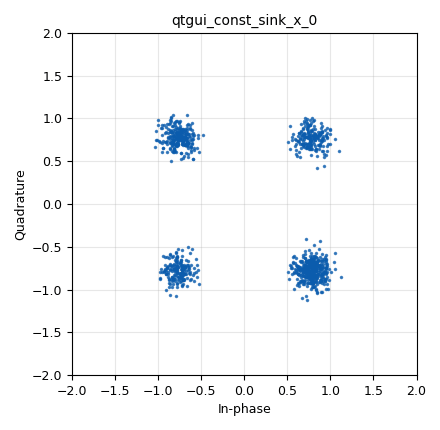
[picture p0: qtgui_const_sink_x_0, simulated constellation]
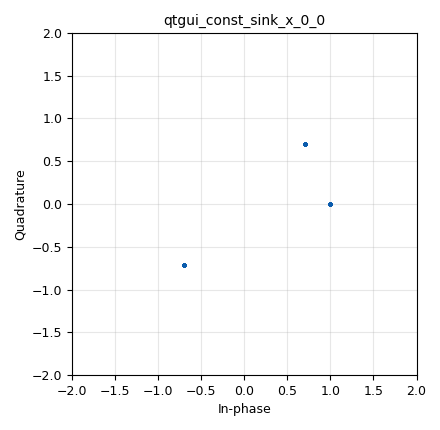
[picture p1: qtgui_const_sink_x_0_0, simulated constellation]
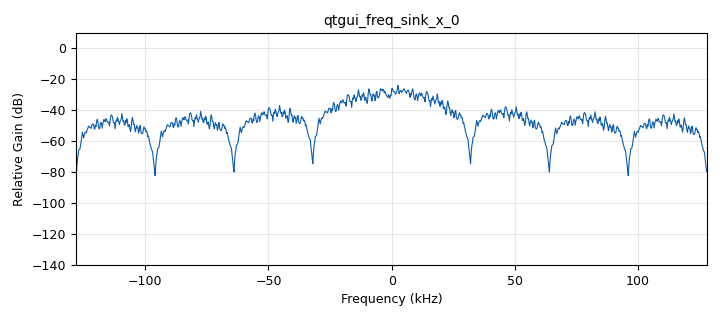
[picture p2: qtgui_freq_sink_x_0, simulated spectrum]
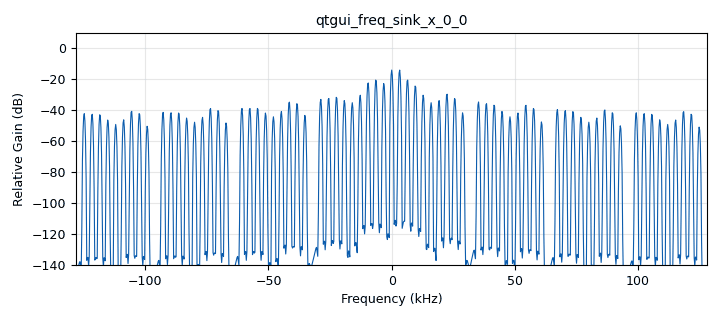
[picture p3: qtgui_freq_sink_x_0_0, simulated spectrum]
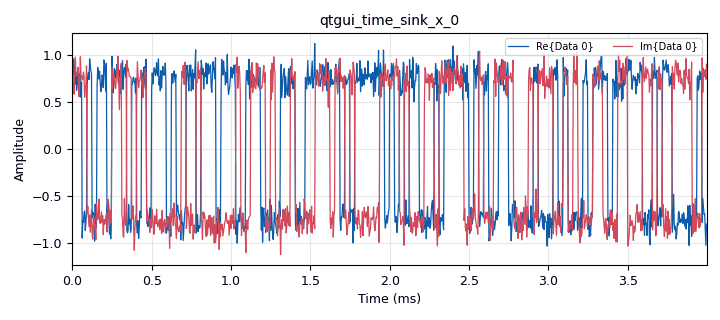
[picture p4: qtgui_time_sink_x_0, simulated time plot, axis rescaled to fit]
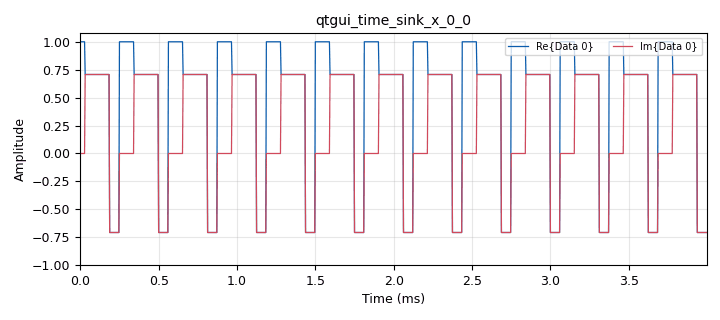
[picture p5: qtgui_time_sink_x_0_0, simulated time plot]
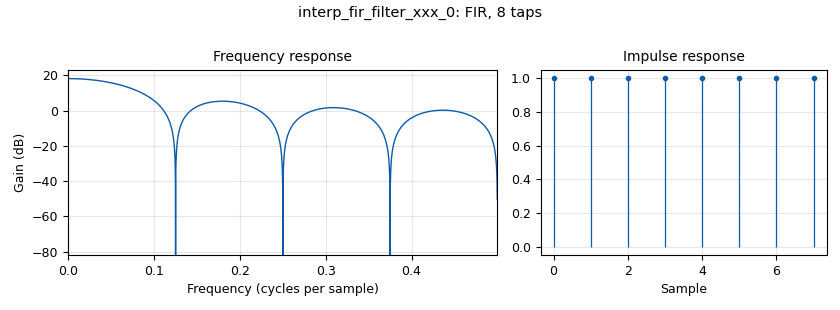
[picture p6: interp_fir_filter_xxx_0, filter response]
options:
  parameters:
    generate_options: qt_gui
    id: QPSTX
    output_language: python
    title: Not titled yet
  states: {}

blocks:
- name: Bit_rate
  id: variable
  parameters:
    value: Rs*bpsim
  states: {}
- name: Bit_rate_0
  id: variable
  parameters:
    value: Rs*bpsim_1
  states: {}
- name: M
  id: variable
  parameters:
    value: len(tabla_de_verdad)
  states: {}
- name: M_0
  id: variable
  parameters:
    value: len(tabla_de_verdad_2)
  states: {}
- name: Rs
  id: variable
  parameters:
    value: '32000'
  states: {}
- name: Rs_0
  id: variable
  parameters:
    value: '32000'
  states: {}
- name: bpsim
  id: variable
  parameters:
    value: math.log(M,2)
  states: {}
- name: bpsim_1
  id: variable
  parameters:
    value: math.log(M_0,2)
  states: {}
- name: h
  id: variable
  parameters:
    value: '[1]*sps'
  states: {}
- name: samp_rate
  id: variable
  parameters:
    value: sps*Rs
  states: {}
- name: samp_rate_0
  id: variable
  parameters:
    value: sps*Rs
  states: {}
- name: sps
  id: variable
  parameters:
    value: '8'
  states: {}
- name: tabla_de_verdad
  id: variable
  parameters:
    value: (0.77+0.77j,-0.77+0.77j,-0.77-0.77j,0.77-0.77j)
  states: {}
- name: tabla_de_verdad_2
  id: variable
  parameters:
    value: (1,np.sqrt(2)/2+np.sqrt(2)/2*1j,0+1j,-np.sqrt(2)/2+np.sqrt(2)/2*1j,-1,-np.sqrt(2)/2-np.sqrt(2)/2*1j,0-1j,np.sqrt(2)/2-np.sqrt(2)/2*1j)
  states: {}
- name: Menu
  id: qtgui_tab_widget
  parameters:
    label0: QPSK
    label1: 8PSK
    num_tabs: '2'
  states: {}
- name: an_noise
  id: analog_noise_source_x
  parameters:
    amp: '0.15'
    noise_type: analog.GR_GAUSSIAN
    seed: '0'
    type: complex
  states: {}
- name: an_noise_0
  id: analog_noise_source_x
  parameters:
    amp: '0.15'
    noise_type: analog.GR_GAUSSIAN
    seed: '0'
    type: complex
  states: {state: disabled}
- name: analog_random_source_x_0
  id: analog_random_source_x
  parameters:
    max: '2'
    min: '0'
    num_samps: '1000'
    repeat: 'True'
    type: byte
  states: {}
- name: analog_random_source_x_0_0
  id: analog_random_source_x
  parameters:
    max: '2'
    min: '0'
    num_samps: '1000'
    repeat: 'True'
    type: byte
  states: {state: disabled}
- name: blocks_add_xx_0
  id: blocks_add_xx
  parameters:
    type: complex
  states: {}
- name: blocks_add_xx_0_0
  id: blocks_add_xx
  parameters:
    type: complex
  states: {state: disabled}
- name: blocks_pack_k_bits_bb_0
  id: blocks_pack_k_bits_bb
  parameters:
    k: '8'
  states: {}
- name: blocks_pack_k_bits_bb_0_0
  id: blocks_pack_k_bits_bb
  parameters:
    k: '8'
  states: {state: disabled}
- name: blocks_packed_to_unpacked_xx_0
  id: blocks_packed_to_unpacked_xx
  parameters:
    bits_per_chunk: '2'
    endianness: gr.GR_MSB_FIRST
    type: byte
  states: {}
- name: blocks_packed_to_unpacked_xx_0_0
  id: blocks_packed_to_unpacked_xx
  parameters:
    bits_per_chunk: '3'
    endianness: gr.GR_MSB_FIRST
    type: byte
  states: {state: disabled}
- name: blocks_vector_source_x_0
  id: blocks_vector_source_x
  parameters:
    repeat: 'True'
    tags: ''
    type: int
    vector: (0,0,0,1,1,1,1,1,5,5)
  states: {}
- name: digital_chunks_to_symbols_xx_0
  id: digital_chunks_to_symbols_xx
  parameters:
    dimension: '1'
    in_type: byte
    out_type: complex
    symbol_table: tabla_de_verdad
  states: {}
- name: digital_chunks_to_symbols_xx_0_0
  id: digital_chunks_to_symbols_xx
  parameters:
    dimension: '1'
    in_type: int
    out_type: complex
    symbol_table: tabla_de_verdad_2
  states: {}
- name: import_0
  id: import
  parameters:
    imports: import math
  states: {}
- name: import_0_0
  id: import
  parameters:
    imports: import numpy as np
  states: {}
- name: interp_fir_filter_xxx_0
  id: interp_fir_filter_xxx
  parameters:
    interp: '8'
    taps: h
    type: ccc
  states: {}
- name: interp_fir_filter_xxx_0_0
  id: interp_fir_filter_xxx
  parameters:
    interp: sps
    taps: h
    type: ccc
  states: {}
- name: qtgui_const_sink_x_0
  id: qtgui_const_sink_x
  parameters:
    gui_hint: Menu@0:0,0,1,1
    size: '1024'
    type: complex
  states: {}
- name: qtgui_const_sink_x_0_0
  id: qtgui_const_sink_x
  parameters:
    gui_hint: Menu@1:0,0,1,1
    size: '1024'
    type: complex
  states: {}
- name: qtgui_freq_sink_x_0
  id: qtgui_freq_sink_x
  parameters:
    average: '0.05'
    bw: samp_rate
    fc: '0'
    fftsize: '1024'
    gui_hint: Menu@0:3,0,1,1
    type: complex
  states: {}
- name: qtgui_freq_sink_x_0_0
  id: qtgui_freq_sink_x
  parameters:
    average: '0.05'
    bw: samp_rate
    fc: '0'
    fftsize: '1024'
    gui_hint: Menu@1:3,0,1,1
    type: complex
  states: {}
- name: qtgui_time_sink_x_0
  id: qtgui_time_sink_x
  parameters:
    gui_hint: Menu@0:2,0,1,1
    size: '1024'
    srate: samp_rate
    type: complex
  states: {}
- name: qtgui_time_sink_x_0_0
  id: qtgui_time_sink_x
  parameters:
    gui_hint: Menu@1:2,0,1,1
    size: '1024'
    srate: samp_rate
    type: complex
  states: {}
- name: virtual_sink_0
  id: virtual_sink
  parameters:
    stream_id: p1
  states: {}
- name: virtual_sink_0_0
  id: virtual_sink
  parameters:
    stream_id: d1
  states: {}
- name: virtual_sink_1
  id: virtual_sink
  parameters:
    stream_id: p0
  states: {}
- name: virtual_sink_1_0
  id: virtual_sink
  parameters:
    stream_id: d0
  states: {}
- name: virtual_source_0
  id: virtual_source
  parameters:
    stream_id: p1
  states: {}
- name: virtual_source_0_0
  id: virtual_source
  parameters:
    stream_id: d1
  states: {}
- name: virtual_source_1
  id: virtual_source
  parameters:
    stream_id: p0
  states: {}
- name: virtual_source_1_0
  id: virtual_source
  parameters:
    stream_id: d0
  states: {}

connections:
- [an_noise, '0', blocks_add_xx_0, '1']
- [an_noise_0, '0', blocks_add_xx_0_0, '1']
- [analog_random_source_x_0, '0', blocks_pack_k_bits_bb_0, '0']
- [analog_random_source_x_0_0, '0', blocks_pack_k_bits_bb_0_0, '0']
- [blocks_add_xx_0, '0', virtual_sink_0, '0']
- [blocks_add_xx_0_0, '0', virtual_sink_0_0, '0']
- [blocks_pack_k_bits_bb_0, '0', blocks_packed_to_unpacked_xx_0, '0']
- [blocks_pack_k_bits_bb_0_0, '0', blocks_packed_to_unpacked_xx_0_0, '0']
- [blocks_packed_to_unpacked_xx_0, '0', digital_chunks_to_symbols_xx_0, '0']
- [blocks_packed_to_unpacked_xx_0_0, '0', digital_chunks_to_symbols_xx_0_0, '0']
- [blocks_vector_source_x_0, '0', digital_chunks_to_symbols_xx_0_0, '0']
- [digital_chunks_to_symbols_xx_0, '0', interp_fir_filter_xxx_0, '0']
- [digital_chunks_to_symbols_xx_0_0, '0', interp_fir_filter_xxx_0_0, '0']
- [interp_fir_filter_xxx_0, '0', blocks_add_xx_0, '0']
- [interp_fir_filter_xxx_0, '0', virtual_sink_1, '0']
- [interp_fir_filter_xxx_0_0, '0', blocks_add_xx_0_0, '0']
- [interp_fir_filter_xxx_0_0, '0', virtual_sink_0_0, '0']
- [interp_fir_filter_xxx_0_0, '0', virtual_sink_1_0, '0']
- [virtual_source_0, '0', qtgui_const_sink_x_0, '0']
- [virtual_source_0, '0', qtgui_time_sink_x_0, '0']
- [virtual_source_0_0, '0', qtgui_const_sink_x_0_0, '0']
- [virtual_source_0_0, '0', qtgui_time_sink_x_0_0, '0']
- [virtual_source_1, '0', qtgui_freq_sink_x_0, '0']
- [virtual_source_1_0, '0', qtgui_freq_sink_x_0_0, '0']

metadata:
  file_format: 1
  grc_version: 3.10.5.1
